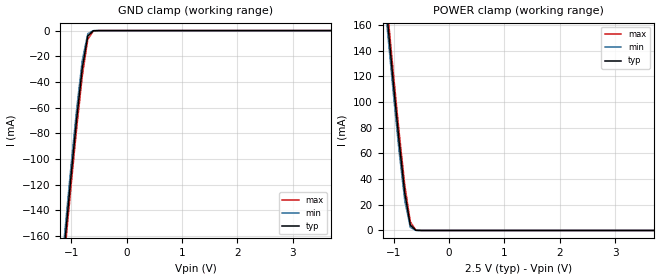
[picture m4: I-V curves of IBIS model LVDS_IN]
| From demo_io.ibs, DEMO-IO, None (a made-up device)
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| One pin of the LVDS-like input. The pair is read with vdiff of [Diff Pin];
| Vinl and Vinh are the thresholds of a pin alone.
[Model]   LVDS_IN
Model_type   Input
Vinl = 1.1V
Vinh = 1.3V
C_comp   1.5pF   1.2pF   1.8pF
[Voltage Range] 2.5V   2.375V   2.625V
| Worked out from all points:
|   GND clamp passes 1 mA (typ) near -0.62 V on its own axis
|   POWER clamp passes 1 mA (typ) near -0.62 V on its own axis
[GND Clamp]
| voltage   I(typ)   I(min)   I(max)
-2.5V     -835.7mA   -826.8mA   -844.5mA
-1.2V     -203.9mA   -195.5mA   -212.3mA
-1V       -111.7mA   -103.7mA   -119.7mA
-900mV    -68.08mA   -60.62mA   -75.67mA
-800mV    -29.07mA   -23.09mA   -35.47mA
-700mV    -4.171mA   -2.393mA   -6.804mA
-600mV    -119.2uA   -59.88uA   -236.3uA
5V        0A         0A         0A
[POWER Clamp]
| voltage   I(typ)   I(min)   I(max)
-2.5V     835.7mA    826.8mA    844.5mA
-1.2V     203.9mA    195.5mA    212.3mA
-1V       111.7mA    103.7mA    119.7mA
-900mV    68.08mA    60.62mA    75.67mA
-800mV    29.07mA    23.09mA    35.47mA
-700mV    4.171mA    2.393mA    6.804mA
-600mV    119.2uA    59.88uA    236.3uA
5V        0A         0A         0A
